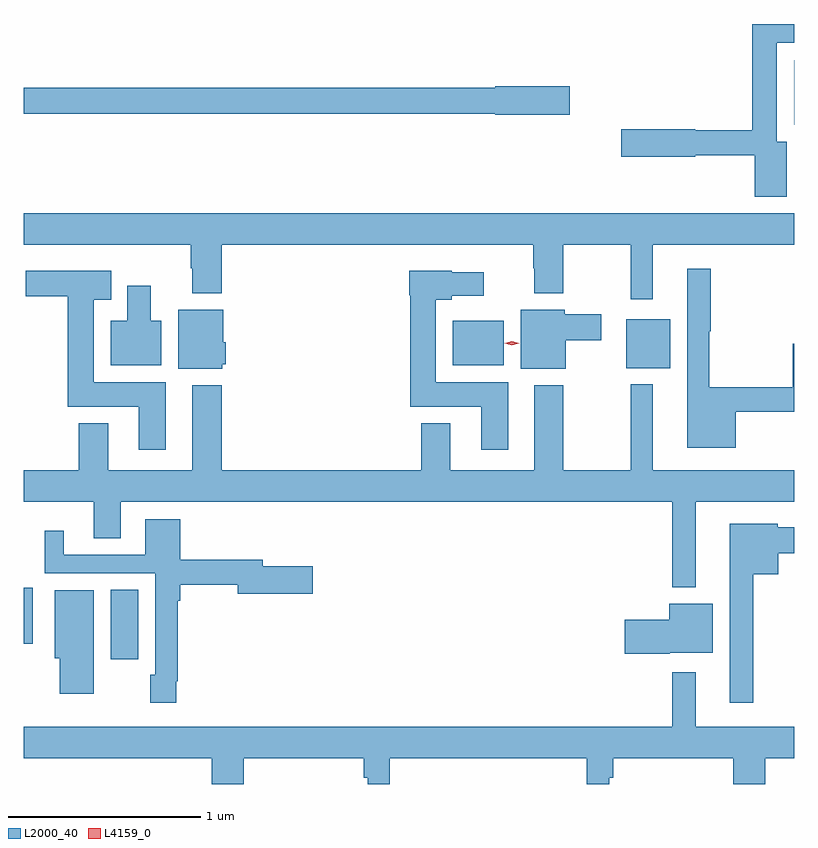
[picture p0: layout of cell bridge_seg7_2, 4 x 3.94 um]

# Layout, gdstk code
import gdstk
lib = gdstk.Library(unit=1e-6, precision=1e-09)
def R(c, l, rs):  # rectangles x0, y0, x1, y1
    for r in rs: c.add(gdstk.rectangle(r[:2], r[2:], *l))
def P(c, l, *ps):  # polygons
    for p in ps: c.add(gdstk.Polygon(p, *l))
L2000_40 = (2000, 40)
L4159_0 = (4159, 0)

bridge_seg7_2 = lib.new_cell('bridge_seg7_2')
R(bridge_seg7_2, L2000_40, [(1034.702,1059.738,1034.845,1060.1), (1034.25,1059.818,1034.299,1060.108), (1037.378,1061.249,1037.605,1061.503), (1036.478,1061.264,1036.741,1061.494), (1038.248,1062.512,1038.25,1062.847)])
P(bridge_seg7_2, L2000_40, [(1038.211,1062.424),(1038.157,1062.424),(1038.157,1062.936),(1038.25,1062.936),(1038.25,1063.034),(1038.032,1063.034),(1038.032,1062.482),(1037.736,1062.482),(1037.736,1062.488),(1037.352,1062.488),(1037.352,1062.346),(1037.736,1062.346),(1037.736,1062.354),(1038.044,1062.354),(1038.044,1062.138),(1038.211,1062.138)],
  [(1037.083,1062.71),(1036.698,1062.71),(1036.698,1062.704),(1034.25,1062.704),(1034.25,1062.568),(1036.698,1062.568),(1036.698,1062.563),(1037.083,1062.563)],
  [(1037.515,1061.888),(1038.25,1061.888),(1038.25,1062.052),(1034.25,1062.052),(1034.25,1061.888),(1035.118,1061.888),(1035.118,1061.768),(1035.125,1061.768),(1035.125,1061.636),(1035.278,1061.636),(1035.278,1061.888),(1036.894,1061.888),(1036.894,1061.768),(1036.901,1061.768),(1036.901,1061.636),(1037.049,1061.636),(1037.049,1061.888),(1037.401,1061.888),(1037.401,1061.607),(1037.515,1061.607)],
  [(1037.944,1061.022),(1038.25,1061.022),(1038.25,1061.374),(1038.241,1061.374),(1038.241,1061.15),(1037.807,1061.15),(1037.807,1061.439),(1037.815,1061.439),(1037.815,1061.764),(1037.693,1061.764),(1037.693,1060.835),(1037.944,1060.835)],
  [(1034.989,1061.176),(1034.614,1061.176),(1034.614,1061.603),(1034.704,1061.603),(1034.704,1061.755),(1034.262,1061.755),(1034.262,1061.621),(1034.48,1061.621),(1034.48,1061.048),(1034.849,1061.048),(1034.849,1060.824),(1034.989,1060.824)],
  [(1036.765,1061.176),(1036.39,1061.176),(1036.39,1061.603),(1036.473,1061.603),(1036.473,1061.624),(1036.639,1061.624),(1036.639,1061.746),(1036.473,1061.746),(1036.473,1061.755),(1036.25,1061.755),(1036.25,1061.628),(1036.256,1061.628),(1036.256,1061.048),(1036.625,1061.048),(1036.625,1060.824),(1036.765,1060.824)],
  [(1034.965,1061.494),(1034.911,1061.494),(1034.911,1061.677),(1034.789,1061.677),(1034.789,1061.494),(1034.702,1061.494),(1034.702,1061.264),(1034.965,1061.264)],
  [(1037.062,1061.393),(1037.248,1061.393),(1037.248,1061.527),(1037.058,1061.527),(1037.058,1061.551),(1036.829,1061.551),(1036.829,1061.246),(1037.062,1061.246)],
  [(1035.282,1061.268),(1035.298,1061.268),(1035.298,1061.382),(1035.286,1061.382),(1035.286,1061.551),(1035.053,1061.551),(1035.053,1061.246),(1035.282,1061.246)],
  [(1037.737,1060.556),(1038.25,1060.556),(1038.25,1060.72),(1037.515,1060.72),(1037.515,1061.164),(1037.401,1061.164),(1037.401,1060.72),(1037.049,1060.72),(1037.049,1061.161),(1036.901,1061.161),(1036.901,1060.72),(1036.465,1060.72),(1036.465,1060.963),(1036.313,1060.963),(1036.313,1060.72),(1035.278,1060.72),(1035.278,1061.161),(1035.125,1061.161),(1035.125,1060.72),(1034.689,1060.72),(1034.689,1060.963),(1034.537,1060.963),(1034.537,1060.72),(1034.25,1060.72),(1034.25,1060.556),(1034.615,1060.556),(1034.615,1060.366),(1034.755,1060.366),(1034.755,1060.556),(1037.616,1060.556),(1037.616,1060.112),(1037.737,1060.112)],
  [(1035.043,1059.625),(1035.05,1059.625),(1035.05,1060.043),(1035.064,1060.043),(1035.064,1060.126),(1035.362,1060.126),(1035.362,1060.079),(1035.751,1060.079),(1035.751,1060.221),(1035.49,1060.221),(1035.49,1060.255),(1035.064,1060.255),(1035.064,1060.465),(1034.882,1060.465),(1034.882,1060.281),(1034.458,1060.281),(1034.458,1060.405),(1034.36,1060.405),(1034.36,1060.185),(1034.934,1060.185),(1034.934,1059.657),(1034.908,1059.657),(1034.908,1059.513),(1035.043,1059.513)],
  [(1038.037,1060.178),(1038.166,1060.178),(1038.166,1060.289),(1038.25,1060.289),(1038.25,1060.423),(1038.162,1060.423),(1038.162,1060.441),(1037.915,1060.441),(1037.915,1059.513),(1038.037,1059.513)],
  [(1034.614,1060.096),(1034.411,1060.096),(1034.411,1059.744),(1034.438,1059.744),(1034.438,1059.56),(1034.614,1059.56)],
  [(1037.604,1059.773),(1037.827,1059.773),(1037.827,1060.027),(1037.6,1060.027),(1037.6,1059.944),(1037.37,1059.944),(1037.37,1059.766),(1037.604,1059.766)],
  [(1035.392,1059.224),(1036.015,1059.224),(1036.015,1059.123),(1036.035,1059.123),(1036.035,1059.091),(1036.151,1059.091),(1036.151,1059.224),(1037.173,1059.224),(1037.173,1059.091),(1037.289,1059.091),(1037.289,1059.123),(1037.309,1059.123),(1037.309,1059.224),(1037.933,1059.224),(1037.933,1059.091),(1038.098,1059.091),(1038.098,1059.224),(1038.25,1059.224),(1038.25,1059.388),(1037.737,1059.388),(1037.737,1059.67),(1037.616,1059.67),(1037.616,1059.388),(1034.25,1059.388),(1034.25,1059.224),(1035.227,1059.224),(1035.227,1059.091),(1035.392,1059.091)])
P(bridge_seg7_2, L4159_0, [(1036.784,1061.368),(1036.746,1061.378),(1036.746,1061.378),(1036.746,1061.378),(1036.784,1061.388),(1036.823,1061.378),(1036.823,1061.378),(1036.823,1061.378)])

lib.write_gds('bridge_seg7_2.gds')
